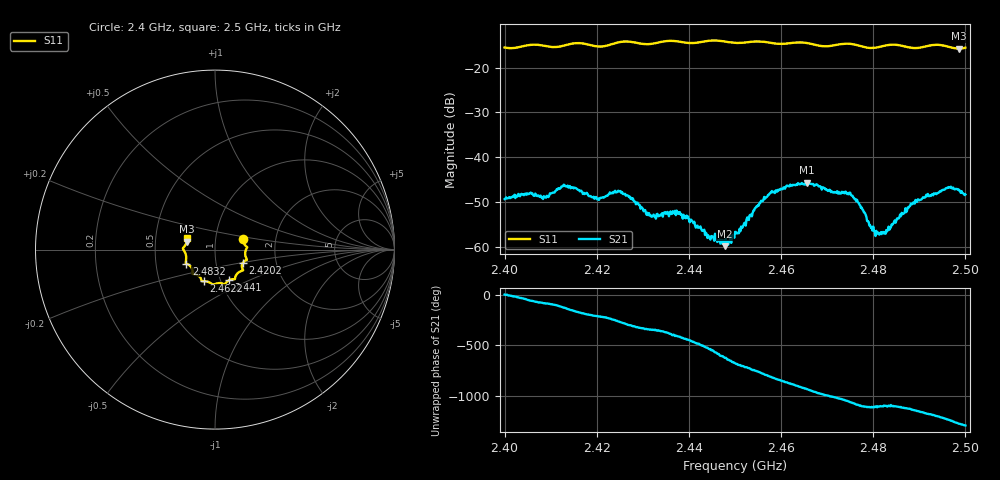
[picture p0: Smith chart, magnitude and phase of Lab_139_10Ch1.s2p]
# Hz S RI R 50
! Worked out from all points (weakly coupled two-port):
!   601 points, 2.4 GHz to 2.5 GHz, reference 50 ohm
!   highest |S21| = -45.63 dB at 2.4657 GHz (marker M1); lowest = -59.8 dB at 2.4478 GHz (marker M2)
!   lowest |S11| = -15.8 dB at 2.4987 GHz (marker M3), VSWR 1.39, Z = 36.4 + j3.37 ohm
!   |S11| at or under -10 dB: start of sweep to end of sweep
!   S12 and S22 are empty: the file has one direction only
!   S11 on the Smith chart (normalised r, x): 2.4 GHz: 1.36, +0.17; 2.4202 GHz: 1.35, -0.20; 2.441 GHz: 1.09, -0.39; 2.4622 GHz: 0.83, -0.30; 2.4832 GHz: 0.72, -0.12; 2.5 GHz: 0.73, +0.09
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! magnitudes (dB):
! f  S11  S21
! 2.4 GHz  -15.5  -49.3
! 2.4085 GHz  -15.1  -48.7
! 2.4128 GHz  -15.1  -46.1
! 2.4167 GHz  -14.6  -47.4
! 2.4202 GHz  -15.3  -49.4
! 2.425 GHz  -14.3  -47.6
! 2.4333 GHz  -14.4  -53.1
! 2.4375 GHz  -14.2  -52.5
! 2.441 GHz  -14.5  -54.7
! 2.4478 GHz  -14.2  -59.8
! 2.45 GHz  -14.5  -56.6
! 2.4575 GHz  -14.5  -48.1
! 2.4622 GHz  -14.5  -46.2
! 2.4657 GHz  -14.5  -45.6
! 2.4667 GHz  -14.8  -46.0
! 2.475 GHz  -14.7  -47.9
! 2.48 GHz  -15.6  -55.4
! 2.4832 GHz  -15.0  -56.2
! 2.4833 GHz  -15.0  -55.4
! 2.4887 GHz  -15.6  -50.1
! 2.4987 GHz  -15.8  -47.4
! 2.5 GHz  -15.6  -48.3
